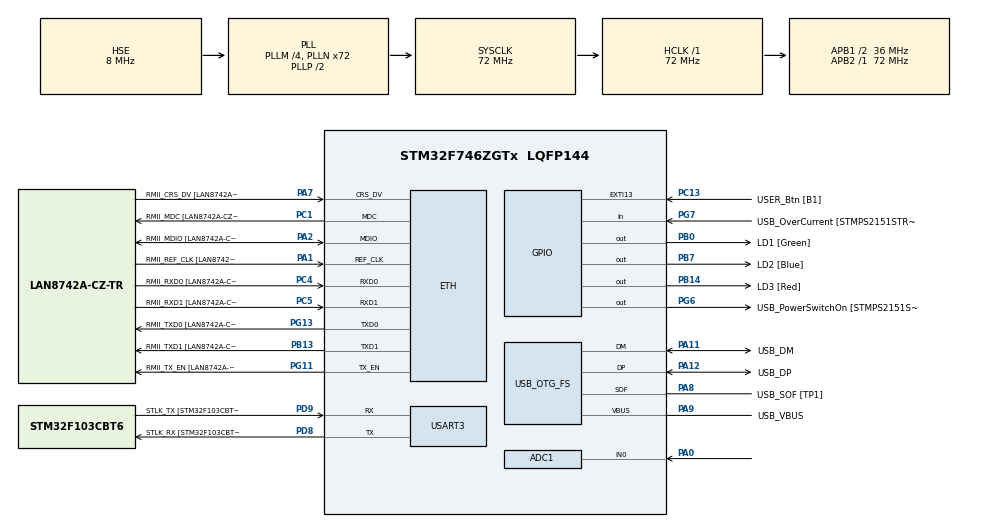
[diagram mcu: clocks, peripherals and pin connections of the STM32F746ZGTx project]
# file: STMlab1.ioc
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ADC1.Channel-0\#ChannelRegularConversion=ADC_CHANNEL_0
ADC1.ClockPrescaler=ADC_CLOCK_SYNC_PCLK_DIV8
ADC1.ContinuousConvMode=DISABLE
ADC1.DMAContinuousRequests=DISABLE
ADC1.InjNumberOfConversion=0
ADC1.NbrOfConversion=1
ADC1.NbrOfConversionFlag=1
ADC1.Rank-0\#ChannelRegularConversion=1
ADC1.SamplingTime-0\#ChannelRegularConversion=ADC_SAMPLETIME_15CYCLES
ADC1.ScanConvMode=ADC_SCAN_DISABLE
ADC1.master=1
ETH.MediaInterface=ETH_MEDIA_INTERFACE_RMII
ETH.PHY_Name=LAN8742A_PHY_ADDRESS
ETH.PHY_Value=0
ETH.PhyAddress=0
Mcu.Family=STM32F7
Mcu.Name=STM32F746ZGTx
Mcu.Package=LQFP144
NVIC.PriorityGroup=NVIC_PRIORITYGROUP_4
NVIC.TIM2_IRQn=true\:0\:0\:false\:false\:true\:true\:true
PA0/WKUP.Signal=ADCx_IN0
PA1.GPIO_Label=RMII_REF_CLK [LAN8742A-CZ-TR_REFCLK0]
PA1.Mode=RMII
PA1.Signal=ETH_REF_CLK
PA10.GPIO_Label=USB_ID
PA10.Signal=USB_OTG_FS_ID
PA11.GPIO_Label=USB_DM
PA11.Mode=Device_Only
PA11.Signal=USB_OTG_FS_DM
PA12.GPIO_Label=USB_DP
PA12.Mode=Device_Only
PA12.Signal=USB_OTG_FS_DP
PA13.GPIO_Label=TMS
PA13.Mode=Serial_Wire
PA13.Signal=SYS_JTMS-SWDIO
PA14.GPIO_Label=TCK
PA14.Mode=Serial_Wire
PA14.Signal=SYS_JTCK-SWCLK
PA2.GPIO_Label=RMII_MDIO [LAN8742A-CZ-TR_MDIO]
PA2.Mode=RMII
PA2.Signal=ETH_MDIO
PA7.GPIO_Label=RMII_CRS_DV [LAN8742A-CZ-TR_CRS_DV]
PA7.Mode=RMII
PA7.Signal=ETH_CRS_DV
PA8.GPIO_Label=USB_SOF [TP1]
PA8.Mode=Activate_SOF_FS
PA8.Signal=USB_OTG_FS_SOF
PA9.GPIO_Label=USB_VBUS
PA9.Mode=Activate_VBUS
PA9.Signal=USB_OTG_FS_VBUS
PB0.GPIO_Label=LD1 [Green]
PB0.Signal=GPIO_Output
PB13.GPIO_Label=RMII_TXD1 [LAN8742A-CZ-TR_TXD1]
PB13.Mode=RMII
PB13.Signal=ETH_TXD1
PB14.GPIO_Label=LD3 [Red]
PB14.Signal=GPIO_Output
PB3.GPIO_Label=SW0
PB3.Signal=SYS_JTDO-SWO
PB7.GPIO_Label=LD2 [Blue]
PB7.Signal=GPIO_Output
PC1.GPIO_Label=RMII_MDC [LAN8742A-CZ-TR_MDC]
PC1.Mode=RMII
PC1.Signal=ETH_MDC
PC13.GPIO_Label=USER_Btn [B1]
PC13.Signal=GPXTI13
PC14/OSC32_IN.Mode=LSE-External-Oscillator
PC14/OSC32_IN.Signal=RCC_OSC32_IN
PC15/OSC32_OUT.Mode=LSE-External-Oscillator
PC15/OSC32_OUT.Signal=RCC_OSC32_OUT
PC4.GPIO_Label=RMII_RXD0 [LAN8742A-CZ-TR_RXD0]
PC4.Mode=RMII
PC4.Signal=ETH_RXD0
PC5.GPIO_Label=RMII_RXD1 [LAN8742A-CZ-TR_RXD1]
PC5.Mode=RMII
PC5.Signal=ETH_RXD1
PD8.GPIO_Label=STLK_RX [STM32F103CBT6_PA3]
PD8.Mode=Asynchronous
PD8.Signal=USART3_TX
PD9.GPIO_Label=STLK_TX [STM32F103CBT6_PA2]
PD9.Mode=Asynchronous
PD9.Signal=USART3_RX
PG11.GPIO_Label=RMII_TX_EN [LAN8742A-CZ-TR_TXEN]
PG11.Mode=RMII
PG11.Signal=ETH_TX_EN
PG13.GPIO_Label=RMII_TXD0 [LAN8742A-CZ-TR_TXD0]
PG13.Mode=RMII
PG13.Signal=ETH_TXD0
PG6.GPIO_Label=USB_PowerSwitchOn [STMPS2151STR_EN]
PG6.Signal=GPIO_Output
PG7.GPIO_Label=USB_OverCurrent [STMPS2151STR_FAULT]
PG7.Signal=GPIO_Input
PH0/OSC_IN.GPIO_Label=MCO [STM32F103CBT6_PA8]
PH0/OSC_IN.Mode=HSE-External-Clock-Source
PH0/OSC_IN.Signal=RCC_OSC_IN
PH1/OSC_OUT.Mode=HSE-External-Clock-Source
PH1/OSC_OUT.Signal=RCC_OSC_OUT
ProjectManager.HeapSize=0x200
ProjectManager.StackSize=0x400
ProjectManager.TargetToolchain=STM32CubeIDE
RCC.48MHZClocksFreq_Value=24000000
RCC.AHBFreq_Value=72000000
RCC.APB1CLKDivider=RCC_HCLK_DIV2
RCC.APB1Freq_Value=36000000
RCC.APB1TimFreq_Value=72000000
RCC.APB2Freq_Value=72000000
RCC.APB2TimFreq_Value=72000000
RCC.CortexFreq_Value=72000000
RCC.HCLKFreq_Value=72000000
RCC.HSE_VALUE=8000000
RCC.HSI_VALUE=16000000
RCC.PLLM=4
RCC.PLLMUL=RCC_PLL_MUL9
RCC.PLLN=72
RCC.PLLQ=3
RCC.PRESCALERUSB=RCC_USBCLKSOURCE_PLL_DIV1_5
RCC.SYSCLKFreq_VALUE=72000000
RCC.SYSCLKSource=RCC_SYSCLKSOURCE_PLLCLK
RCC.SYSCLKSourceVirtual=RCC_SYSCLKSOURCE_PLLCLK
RCC.USBFreq_Value=48000000
RCC.VCOOutputFreq_Value=144000000
SH.ADCx_IN0.0=ADC1_IN0,IN0
TIM2.Period=5000
TIM2.Prescaler=72-1
USART3.VirtualMode-Asynchronous=VM_ASYNC
USB_OTG_FS.VirtualMode=Device_Only
VP_TIM2_VS_ClockSourceINT.Mode=Internal
board=NUCLEO-F746ZG

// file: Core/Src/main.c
/* USER CODE BEGIN Header */
/**
  ******************************************************************************
  * @file           : main.c
  * @brief          : Main program body
  ******************************************************************************
  * @attention
  *
  * <h2><center>&copy; Copyright (c) 2022 STMicroelectronics.
  * All rights reserved.</center></h2>
  *
  * This software component is licensed by ST under BSD 3-Clause license,
  * the "License"; You may not use this file except in compliance with the
  * License. You may obtain a copy of the License at:
  *                        opensource.org/licenses/BSD-3-Clause
  *
  ******************************************************************************
  */
/* USER CODE END Header */
#include "main.h"

/* USER CODE BEGIN Includes */
#include <stdio.h>
#include <string.h>
/* USER CODE END Includes */

ADC_HandleTypeDef hadc1;

ETH_HandleTypeDef heth;

TIM_HandleTypeDef htim2;

UART_HandleTypeDef huart3;

PCD_HandleTypeDef hpcd_USB_OTG_FS;

/* USER CODE BEGIN PV */
uint32_t adc_value;
int pulse;
char message[11];

/* USER CODE END PV */

void SystemClock_Config(void);
static void MX_GPIO_Init(void);
static void MX_ETH_Init(void);
static void MX_USART3_UART_Init(void);
static void MX_USB_OTG_FS_PCD_Init(void);
static void MX_ADC1_Init(void);
static void MX_TIM2_Init(void);

int main(void)
{

  /* MCU Configuration--------------------------------------------------------*/

  /* Reset of all peripherals, Initializes the Flash interface and the Systick. */
  HAL_Init();

  /* Configure the system clock */
  SystemClock_Config();

  /* Initialize all configured peripherals */
  MX_GPIO_Init();
  MX_ETH_Init();
  MX_USART3_UART_Init();
  MX_USB_OTG_FS_PCD_Init();
  MX_ADC1_Init();
  MX_TIM2_Init();
  /* USER CODE BEGIN 2 */

  HAL_TIM_Base_Start_IT(&htim2); //se debe inicializar timer
  /* USER CODE END 2 */

  /* Infinite loop */
  /* USER CODE BEGIN WHILE */
  while (1)
  {
	  pulse=HAL_GPIO_ReadPin(GPIOB, GPIO_PIN_0);

    /* USER CODE END WHILE */

  }
}

void SystemClock_Config(void)
{
  RCC_OscInitTypeDef RCC_OscInitStruct = {0};
  RCC_ClkInitTypeDef RCC_ClkInitStruct = {0};
  RCC_PeriphCLKInitTypeDef PeriphClkInitStruct = {0};

  /** Configure LSE Drive Capability
  */
  HAL_PWR_EnableBkUpAccess();
  /** Configure the main internal regulator output voltage
  */
  __HAL_RCC_PWR_CLK_ENABLE();
  __HAL_PWR_VOLTAGESCALING_CONFIG(PWR_REGULATOR_VOLTAGE_SCALE3);
  /** Initializes the RCC Oscillators according to the specified parameters
  * in the RCC_OscInitTypeDef structure.
  */
  RCC_OscInitStruct.OscillatorType = RCC_OSCILLATORTYPE_HSE;
  RCC_OscInitStruct.HSEState = RCC_HSE_BYPASS;
  RCC_OscInitStruct.PLL.PLLState = RCC_PLL_ON;
  RCC_OscInitStruct.PLL.PLLSource = RCC_PLLSOURCE_HSE;
  RCC_OscInitStruct.PLL.PLLM = 4;
  RCC_OscInitStruct.PLL.PLLN = 72;
  RCC_OscInitStruct.PLL.PLLP = RCC_PLLP_DIV2;
  RCC_OscInitStruct.PLL.PLLQ = 3;
  if (HAL_RCC_OscConfig(&RCC_OscInitStruct) != HAL_OK)
  {
    Error_Handler();
  }
  /** Initializes the CPU, AHB and APB buses clocks
  */
  RCC_ClkInitStruct.ClockType = RCC_CLOCKTYPE_HCLK|RCC_CLOCKTYPE_SYSCLK
                              |RCC_CLOCKTYPE_PCLK1|RCC_CLOCKTYPE_PCLK2;
  RCC_ClkInitStruct.SYSCLKSource = RCC_SYSCLKSOURCE_PLLCLK;
  RCC_ClkInitStruct.AHBCLKDivider = RCC_SYSCLK_DIV1;
  RCC_ClkInitStruct.APB1CLKDivider = RCC_HCLK_DIV2;
  RCC_ClkInitStruct.APB2CLKDivider = RCC_HCLK_DIV1;

  if (HAL_RCC_ClockConfig(&RCC_ClkInitStruct, FLASH_LATENCY_2) != HAL_OK)
  {
    Error_Handler();
  }
  PeriphClkInitStruct.PeriphClockSelection = RCC_PERIPHCLK_USART3|RCC_PERIPHCLK_CLK48;
  PeriphClkInitStruct.Usart3ClockSelection = RCC_USART3CLKSOURCE_PCLK1;
  PeriphClkInitStruct.Clk48ClockSelection = RCC_CLK48SOURCE_PLL;
  if (HAL_RCCEx_PeriphCLKConfig(&PeriphClkInitStruct) != HAL_OK)
  {
    Error_Handler();
  }
}

static void MX_ADC1_Init(void)
{

  ADC_ChannelConfTypeDef sConfig = {0};

  /** Configure the global features of the ADC (Clock, Resolution, Data Alignment and number of conversion)
  */
  hadc1.Instance = ADC1;
  hadc1.Init.ClockPrescaler = ADC_CLOCK_SYNC_PCLK_DIV8;
  hadc1.Init.Resolution = ADC_RESOLUTION_12B;
  hadc1.Init.ScanConvMode = ADC_SCAN_DISABLE;
  hadc1.Init.ContinuousConvMode = DISABLE;
  hadc1.Init.DiscontinuousConvMode = DISABLE;
  hadc1.Init.ExternalTrigConvEdge = ADC_EXTERNALTRIGCONVEDGE_NONE;
  hadc1.Init.ExternalTrigConv = ADC_SOFTWARE_START;
  hadc1.Init.DataAlign = ADC_DATAALIGN_RIGHT;
  hadc1.Init.NbrOfConversion = 1;
  hadc1.Init.DMAContinuousRequests = DISABLE;
  hadc1.Init.EOCSelection = ADC_EOC_SINGLE_CONV;
  if (HAL_ADC_Init(&hadc1) != HAL_OK)
  {
    Error_Handler();
  }
  /** Configure for the selected ADC regular channel its corresponding rank in the sequencer and its sample time.
  */
  sConfig.Channel = ADC_CHANNEL_0;
  sConfig.Rank = ADC_REGULAR_RANK_1;
  sConfig.SamplingTime = ADC_SAMPLETIME_15CYCLES;
  if (HAL_ADC_ConfigChannel(&hadc1, &sConfig) != HAL_OK)
  {
    Error_Handler();
  }

}

static void MX_ETH_Init(void)
{

  heth.Instance = ETH;
  heth.Init.AutoNegotiation = ETH_AUTONEGOTIATION_ENABLE;
  heth.Init.PhyAddress = LAN8742A_PHY_ADDRESS;
  heth.Init.MACAddr[0] =   0x00;
  heth.Init.MACAddr[1] =   0x80;
  heth.Init.MACAddr[2] =   0xE1;
  heth.Init.MACAddr[3] =   0x00;
  heth.Init.MACAddr[4] =   0x00;
  heth.Init.MACAddr[5] =   0x00;
  heth.Init.RxMode = ETH_RXPOLLING_MODE;
  heth.Init.ChecksumMode = ETH_CHECKSUM_BY_HARDWARE;
  heth.Init.MediaInterface = ETH_MEDIA_INTERFACE_RMII;

  if (HAL_ETH_Init(&heth) != HAL_OK)
  {
    Error_Handler();
  }

}

static void MX_TIM2_Init(void)
{

  TIM_ClockConfigTypeDef sClockSourceConfig = {0};
  TIM_MasterConfigTypeDef sMasterConfig = {0};

  htim2.Instance = TIM2;
  htim2.Init.Prescaler = 72-1;
  htim2.Init.CounterMode = TIM_COUNTERMODE_UP;
  htim2.Init.Period = 5000;
  htim2.Init.ClockDivision = TIM_CLOCKDIVISION_DIV1;
  htim2.Init.AutoReloadPreload = TIM_AUTORELOAD_PRELOAD_DISABLE;
  if (HAL_TIM_Base_Init(&htim2) != HAL_OK)
  {
    Error_Handler();
  }
  sClockSourceConfig.ClockSource = TIM_CLOCKSOURCE_INTERNAL;
  if (HAL_TIM_ConfigClockSource(&htim2, &sClockSourceConfig) != HAL_OK)
  {
    Error_Handler();
  }
  sMasterConfig.MasterOutputTrigger = TIM_TRGO_RESET;
  sMasterConfig.MasterSlaveMode = TIM_MASTERSLAVEMODE_DISABLE;
  if (HAL_TIMEx_MasterConfigSynchronization(&htim2, &sMasterConfig) != HAL_OK)
  {
    Error_Handler();
  }

}

static void MX_USART3_UART_Init(void)
{

  huart3.Instance = USART3;
  huart3.Init.BaudRate = 115200;
  huart3.Init.WordLength = UART_WORDLENGTH_8B;
  huart3.Init.StopBits = UART_STOPBITS_1;
  huart3.Init.Parity = UART_PARITY_NONE;
  huart3.Init.Mode = UART_MODE_TX_RX;
  huart3.Init.HwFlowCtl = UART_HWCONTROL_NONE;
  huart3.Init.OverSampling = UART_OVERSAMPLING_16;
  huart3.Init.OneBitSampling = UART_ONE_BIT_SAMPLE_DISABLE;
  huart3.AdvancedInit.AdvFeatureInit = UART_ADVFEATURE_NO_INIT;
  if (HAL_UART_Init(&huart3) != HAL_OK)
  {
    Error_Handler();
  }

}

static void MX_USB_OTG_FS_PCD_Init(void)
{

  hpcd_USB_OTG_FS.Instance = USB_OTG_FS;
  hpcd_USB_OTG_FS.Init.dev_endpoints = 6;
  hpcd_USB_OTG_FS.Init.speed = PCD_SPEED_FULL;
  hpcd_USB_OTG_FS.Init.dma_enable = DISABLE;
  hpcd_USB_OTG_FS.Init.phy_itface = PCD_PHY_EMBEDDED;
  hpcd_USB_OTG_FS.Init.Sof_enable = ENABLE;
  hpcd_USB_OTG_FS.Init.low_power_enable = DISABLE;
  hpcd_USB_OTG_FS.Init.lpm_enable = DISABLE;
  hpcd_USB_OTG_FS.Init.vbus_sensing_enable = ENABLE;
  hpcd_USB_OTG_FS.Init.use_dedicated_ep1 = DISABLE;
  if (HAL_PCD_Init(&hpcd_USB_OTG_FS) != HAL_OK)
  {
    Error_Handler();
  }

}

static void MX_GPIO_Init(void)
{
  GPIO_InitTypeDef GPIO_InitStruct = {0};

  /* GPIO Ports Clock Enable */
  __HAL_RCC_GPIOC_CLK_ENABLE();
  __HAL_RCC_GPIOH_CLK_ENABLE();
  __HAL_RCC_GPIOA_CLK_ENABLE();
  __HAL_RCC_GPIOB_CLK_ENABLE();
  __HAL_RCC_GPIOD_CLK_ENABLE();
  __HAL_RCC_GPIOG_CLK_ENABLE();

  /*Configure GPIO pin Output Level */
  HAL_GPIO_WritePin(GPIOB, LD1_Pin|LD3_Pin|LD2_Pin, GPIO_PIN_RESET);

  /*Configure GPIO pin Output Level */
  HAL_GPIO_WritePin(USB_PowerSwitchOn_GPIO_Port, USB_PowerSwitchOn_Pin, GPIO_PIN_RESET);

  /*Configure GPIO pin : USER_Btn_Pin */
  GPIO_InitStruct.Pin = USER_Btn_Pin;
  GPIO_InitStruct.Mode = GPIO_MODE_IT_RISING;
  GPIO_InitStruct.Pull = GPIO_NOPULL;
  HAL_GPIO_Init(USER_Btn_GPIO_Port, &GPIO_InitStruct);

  /*Configure GPIO pins : LD1_Pin LD3_Pin LD2_Pin */
  GPIO_InitStruct.Pin = LD1_Pin|LD3_Pin|LD2_Pin;
  GPIO_InitStruct.Mode = GPIO_MODE_OUTPUT_PP;
  GPIO_InitStruct.Pull = GPIO_NOPULL;
  GPIO_InitStruct.Speed = GPIO_SPEED_FREQ_LOW;
  HAL_GPIO_Init(GPIOB, &GPIO_InitStruct);

  /*Configure GPIO pin : USB_PowerSwitchOn_Pin */
  GPIO_InitStruct.Pin = USB_PowerSwitchOn_Pin;
  GPIO_InitStruct.Mode = GPIO_MODE_OUTPUT_PP;
  GPIO_InitStruct.Pull = GPIO_NOPULL;
  GPIO_InitStruct.Speed = GPIO_SPEED_FREQ_LOW;
  HAL_GPIO_Init(USB_PowerSwitchOn_GPIO_Port, &GPIO_InitStruct);

  /*Configure GPIO pin : USB_OverCurrent_Pin */
  GPIO_InitStruct.Pin = USB_OverCurrent_Pin;
  GPIO_InitStruct.Mode = GPIO_MODE_INPUT;
  GPIO_InitStruct.Pull = GPIO_NOPULL;
  HAL_GPIO_Init(USB_OverCurrent_GPIO_Port, &GPIO_InitStruct);

}

/* USER CODE BEGIN 4 */
void HAL_TIM_PeriodElapsedCallback(TIM_HandleTypeDef *htim)
{
  if(htim==&htim2){
	  HAL_GPIO_WritePin(GPIOB, GPIO_PIN_0, 1);
	  HAL_ADC_Start(&hadc1);
	  HAL_ADC_PollForConversion(&hadc1, HAL_MAX_DELAY);
	  adc_value = HAL_ADC_GetValue(&hadc1);

	  sprintf(message, "%hu\r\n",(int)adc_value);
	  HAL_UART_Transmit(&huart3, (uint8_t*)message, strlen(message), HAL_MAX_DELAY);
	  HAL_GPIO_WritePin(GPIOB, GPIO_PIN_0, 0);
  }
}
/*
void HAL_TIM_PeriodElapsedHalfCpltCallback(TIM_HandleTypeDef *htim)
{
	if(htim==&htim2){
		HAL_GPIO_WritePin(GPIOB, GPIO_PIN_0, 0);
	}
}
*/
/* USER CODE END 4 */

void Error_Handler(void)
{
}

/************************ (C) COPYRIGHT STMicroelectronics *****END OF FILE****/
